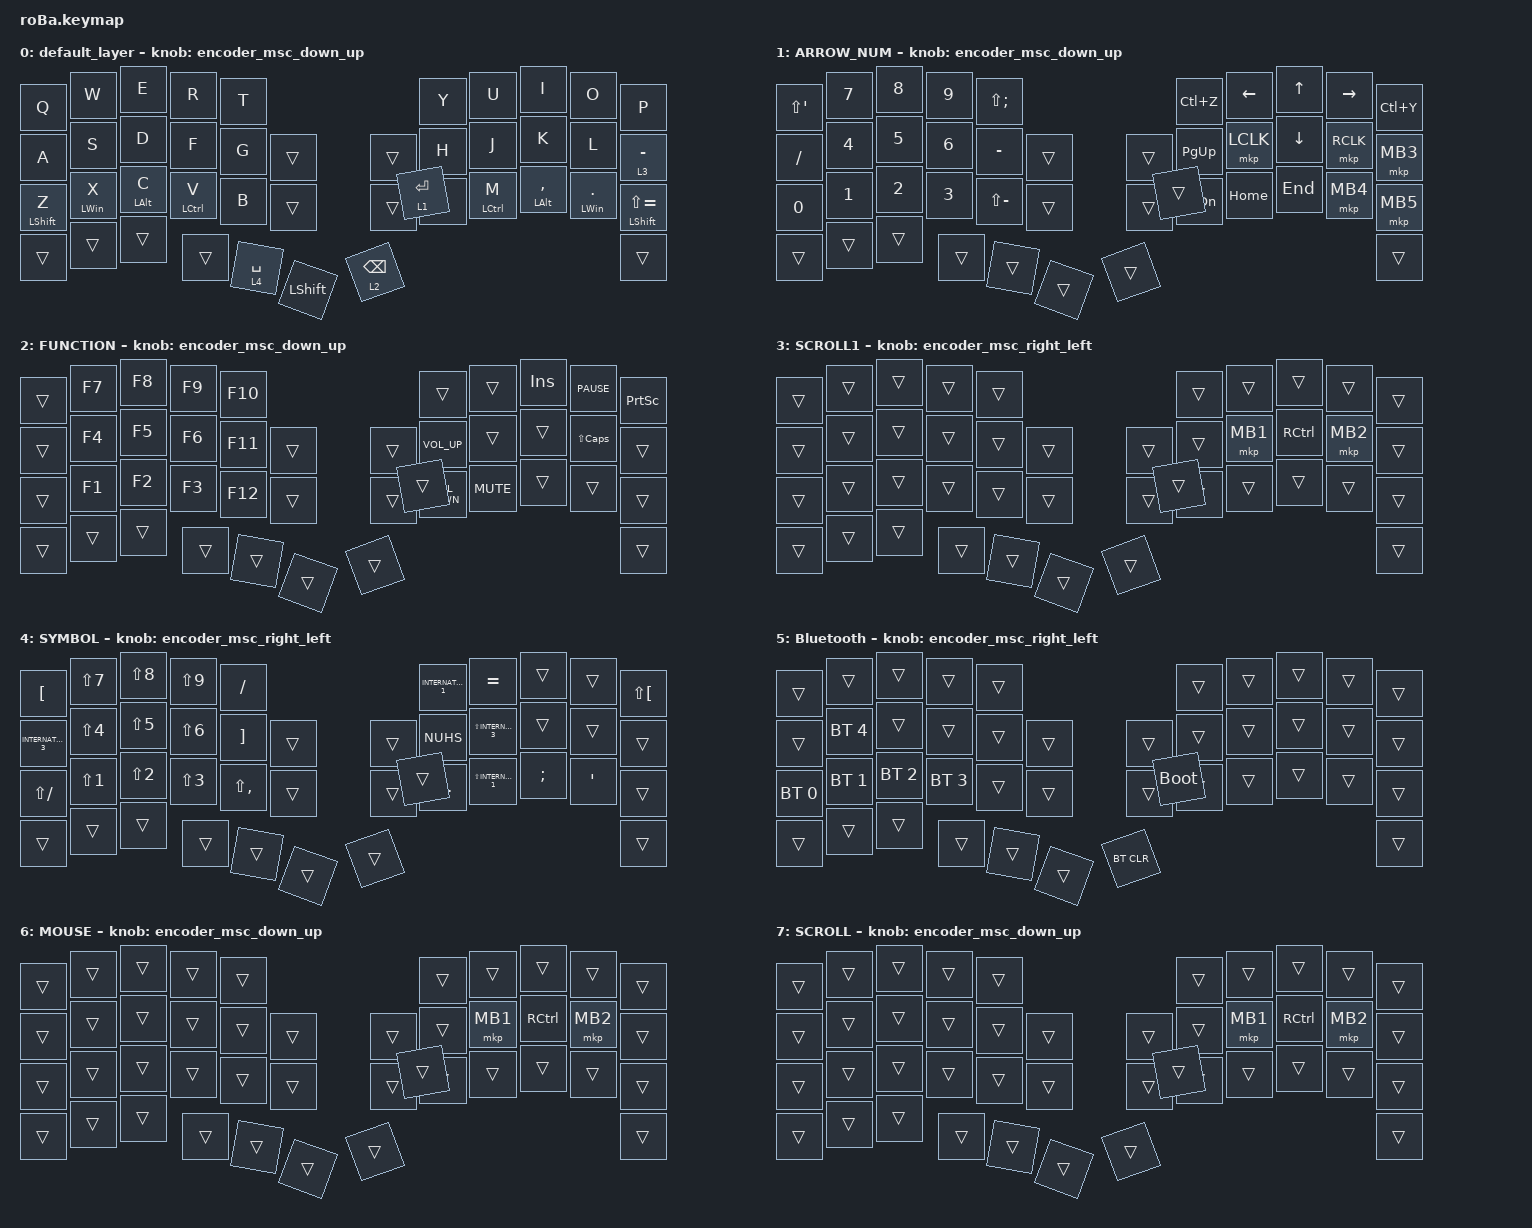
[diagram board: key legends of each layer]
#include <input/processors.dtsi>
#include <behaviors.dtsi>
#include <dt-bindings/zmk/bt.h>
#include <dt-bindings/zmk/keys.h>
#include <dt-bindings/zmk/pointing.h>

// スクロール量定義

#define ZMK_POINTING_DEFAULT_SCRL_VAL 100

// OS設定を日本語キーボードのまま使用するための変換定義

#define JP_ZKHK  GRAVE        // Zenkaku ↔ Hankaku ↔ Kanji (半角 ↔ 全角 ↔ 漢字)
#define JP_MINUS MINUS        // -
#define JP_CARET EQUAL        // ^
#define JP_YEN   INT3         // ¥
#define JP_AT    LBKT         // @
#define JP_LBKT  RBKT         // [
#define JP_EISU  CAPS         // Eisū (英数)
#define JP_SEMI  SEMI         // ;
#define JP_COLON SQT          // :
#define JP_RBKT  NUHS         // ]
#define JP_COMMA COMMA        // ,
#define JP_DOT   DOT          // .
#define JP_SLASH SLASH        // /
#define JP_BSLH  INT1         // (backslash)
#define JP_MHEN  INT5         // Muhenkan (無変換)
#define JP_HENK  INT4         // Henkan (変換)
#define JP_KANA  INT2         // Katakana ↔ Hiragana ↔ Rōmaji (カタカナ ↔ ひらがな ↔ ローマ字)
#define JP_EXCL  LS(N1)       // !
#define JP_DQT   LS(N2)       // "
#define JP_HASH  LS(N3)       // #
#define JP_DLLR  LS(N4)       // $
#define JP_PRCNT LS(N5)       // %
#define JP_AMPS  LS(N6)       // &
#define JP_SQT   LS(N7)       // '
#define JP_LPAR  LS(N8)       // (
#define JP_RPAR  LS(N9)       // )
#define JP_EQUAL LS(JP_MINUS) // =
#define JP_TILDE LS(JP_CARET) // ~
#define JP_PIPE  LS(JP_YEN)   // |
#define JP_GRAVE LS(JP_AT)    // `
#define JP_LBRC  LS(JP_LBKT)  // {
#define JP_CAPS  LS(JP_EISU)  // Caps Lock
#define JP_PLUS  LS(JP_SEMI)  // +
#define JP_ASTRK LS(JP_COLON) // *
#define JP_RBRC  LS(JP_RBKT)  // }
#define JP_LT    LS(JP_COMMA) // <
#define JP_RT    LS(JP_DOT)   // >
#define JP_QMARK LS(JP_SLASH) // ?
#define JP_UNDER LS(JP_BSLH)  // _

&mt {
    flavor = "balanced";
    quick-tap-ms = <200>;
    tapping-term-ms = <200>;
};

&lt {
    tapping-term-ms = <200>;
    flavor = "hold-preferred";
    quick-tap-ms = <200>;
    hold-while-undecided;
};

//AML誤爆防止・復帰除外キー設定

&zip_temp_layer {
    require-prior-idle-ms = <100>;
    excluded-positions = <
        18 // J
        // 19 // K
        20 // L
        21 // ;
    >;
};

//トラックボール操作時AML動作定義

&trackball_listener { input-processors = <&zip_temp_layer 6 500>; };

//マウスクリック操作時AML動作定義

&mkp_input_listener { input-processors = <&zip_temp_layer 6 250>; };

&trackball {
    //  automouse-layer = <6>;

    scroll-layers = <7>;

    arrows {
        layers = <7>;
        bindings =
            <&kp RIGHT_ARROW>,
            <&kp LEFT_ARROW>,
            <&kp UP_ARROW>,
            <&kp DOWN_ARROW>;

        tick = <10>;
        wait-ms = <5>;
        tap-ms = <5>;
    };
};

/ {
    combos {
        compatible = "zmk,combos";

        tab {
            bindings = <&kp TAB>;
            key-positions = <0 1>;
        };

        esc {
            bindings = <&kp ESCAPE>;
            key-positions = <9 8>;
        };

        henkan {
            bindings = <&kp INT_HENKAN>;
            key-positions = <29 30>;
        };

        muhenkan {
            bindings = <&kp INT_MUHENKAN>;
            key-positions = <26 25>;
        };

        del {
            bindings = <&kp DELETE>;
            key-positions = <32 31>;
        };
    };

    macros {
        to_layer_0: to_layer_0 {
            compatible = "zmk,behavior-macro-one-param";
            #binding-cells = <1>;
            bindings = <&to 0 &macro_param_1to1 &kp MACRO_PLACEHOLDER>;
            label = "TO_LAYER_0";
        };
    };

    behaviors {
        lt_to_layer_0: lt_to_layer_0 {
            compatible = "zmk,behavior-hold-tap";
            label = "LAYER_TAP_TO_0";
            bindings = <&mo>, <&to_layer_0>;

            #binding-cells = <2>;
            tapping-term-ms = <200>;
        };

        encoder_msc_down_up: encoder_msc_down_up {
            compatible = "zmk,behavior-sensor-rotate";
            label = "ENCODER_MSC_DOWN_UP";
            #sensor-binding-cells = <0>;
            bindings = <&msc SCRL_DOWN>, <&msc SCRL_UP>;

            tap-ms = <20>;
        };

        enter_l1: enter_l1 {
            compatible = "zmk,behavior-tap-dance";
            label = "ENTER_L1";
            #binding-cells = <0>;
            bindings = <&lt 1 ENTER>, <&kp ENTER>;

            tapping-term-ms = <200>;
        };

        backspace_l2: backspace_l2 {
            compatible = "zmk,behavior-tap-dance";
            label = "BACKSPACE_L2";
            #binding-cells = <0>;
            bindings = <&lt 2 BACKSPACE>, <&kp BACKSPACE>;

            tapping-term-ms = <200>;
        };

        space_l4: space_l4 {
            compatible = "zmk,behavior-tap-dance";
            label = "SPACE_L4";
            #binding-cells = <0>;
            bindings = <&lt 4 SPACE>, <&kp SPACE>;

            tapping-term-ms = <200>;
        };

        encoder_msc_right_left: encoder_msc_right_left {
            compatible = "zmk,behavior-sensor-rotate";
            label = "ENCODER_MSC_RIGHT_LEFT";
            #sensor-binding-cells = <0>;
            bindings = <&msc SCRL_RIGHT>, <&msc SCRL_LEFT>;

            tap-ms = <20>;
        };
    };

    keymap {
        compatible = "zmk,keymap";

        default_layer {
            bindings = <
&kp Q             &kp W           &kp E           &kp R        &kp T                                             &kp Y        &kp U        &kp I               &kp O             &kp P
&kp A             &kp S           &kp D           &kp F        &kp G        &trans              &trans           &kp H        &kp J        &kp K               &kp L             &lt 3 MINUS
&mt LEFT_SHIFT Z  &mt LEFT_WIN X  &mt LEFT_ALT C  &mt LCTRL V  &kp B        &trans              &trans           &kp N        &mt LCTRL M  &mt LEFT_ALT COMMA  &mt LEFT_WIN DOT  &mt LEFT_SHIFT LS(EQUAL)
&trans            &trans          &trans          &trans       &lt 4 SPACE  &kp LEFT_SHIFT      &lt 2 BACKSPACE  &lt 1 ENTER                                                     &trans
            >;

            sensor-bindings = <&encoder_msc_down_up>;
        };

        ARROW_NUM {
            bindings = <
&kp LS(SQT)  &kp N7  &kp N8  &kp N9  &kp LS(SEMI)                       &kp LC(Z)      &kp LEFT_ARROW  &kp UP_ARROW    &kp RIGHT_ARROW  &kp LC(Y)
&kp SLASH    &kp N4  &kp N5  &kp N6  &kp MINUS      &trans      &trans  &kp PAGE_UP    &mkp LCLK       &kp DOWN_ARROW  &mkp RCLK        &mkp MB3
&kp N0       &kp N1  &kp N2  &kp N3  &kp LS(MINUS)  &trans      &trans  &kp PAGE_DOWN  &kp HOME        &kp END         &mkp MB4         &mkp MB5
&trans       &trans  &trans  &trans  &trans         &trans      &trans  &trans                                                          &trans
            >;

            sensor-bindings = <&encoder_msc_down_up>;
        };

        FUNCTION {
            bindings = <
&trans  &kp F7  &kp F8  &kp F9  &kp F10                      &trans             &trans      &kp INS  &kp C_PAUSE       &kp PRINTSCREEN
&trans  &kp F4  &kp F5  &kp F6  &kp F11  &trans      &trans  &kp C_VOLUME_UP    &trans      &trans   &kp LS(CAPSLOCK)  &trans
&trans  &kp F1  &kp F2  &kp F3  &kp F12  &trans      &trans  &kp C_VOLUME_DOWN  &kp C_MUTE  &trans   &trans            &trans
&trans  &trans  &trans  &trans  &trans   &trans      &trans  &trans                                                    &trans
            >;

            sensor-bindings = <&encoder_msc_down_up>;
        };

        SCROLL1 {
            bindings = <
&trans  &trans  &trans  &trans  &trans                      &trans  &trans    &trans     &trans    &trans
&trans  &trans  &trans  &trans  &trans  &trans      &trans  &trans  &mkp MB1  &kp RCTRL  &mkp MB2  &trans
&trans  &trans  &trans  &trans  &trans  &trans      &trans  &trans  &trans    &trans     &trans    &trans
&trans  &trans  &trans  &trans  &trans  &trans      &trans  &trans                                 &trans
            >;

            sensor-bindings = <&encoder_msc_right_left>;
        };

        SYMBOL {
            bindings = <
&kp LBKT             &kp LS(N7)  &kp LS(N8)  &kp LS(N9)  &kp SLASH                          &kp INTERNATIONAL_1  &kp EQUAL                &trans    &trans   &kp LS(LBKT)
&kp INTERNATIONAL_3  &kp LS(N4)  &kp LS(N5)  &kp LS(N6)  &kp RBKT       &trans      &trans  &kp NUHS             &kp LS(INTERNATIONAL_3)  &trans    &trans   &trans
&kp LS(SLASH)        &kp LS(N1)  &kp LS(N2)  &kp LS(N3)  &kp LS(COMMA)  &trans      &trans  &kp LS(DOT)          &kp LS(INTERNATIONAL_1)  &kp SEMI  &kp SQT  &trans
&trans               &trans      &trans      &trans      &trans         &trans      &trans  &trans                                                           &trans
            >;

            sensor-bindings = <&encoder_msc_right_left>;
        };

        Bluetooth {
            bindings = <
&trans        &trans        &trans        &trans        &trans                          &trans       &trans  &trans  &trans  &trans
&trans        &bt BT_SEL 4  &trans        &trans        &trans  &trans      &trans      &trans       &trans  &trans  &trans  &trans
&bt BT_SEL 0  &bt BT_SEL 1  &bt BT_SEL 2  &bt BT_SEL 3  &trans  &trans      &trans      &trans       &trans  &trans  &trans  &trans
&trans        &trans        &trans        &trans        &trans  &trans      &bt BT_CLR  &bootloader                          &trans
            >;

            sensor-bindings = <&encoder_msc_right_left>;
        };

        MOUSE {
            bindings = <
&trans  &trans  &trans  &trans  &trans                      &trans  &trans    &trans     &trans    &trans
&trans  &trans  &trans  &trans  &trans  &trans      &trans  &trans  &mkp MB1  &kp RCTRL  &mkp MB2  &trans
&trans  &trans  &trans  &trans  &trans  &trans      &trans  &trans  &trans    &trans     &trans    &trans
&trans  &trans  &trans  &trans  &trans  &trans      &trans  &trans                                 &trans
            >;

            sensor-bindings = <&encoder_msc_down_up>;
        };

        SCROLL {
            bindings = <
&trans  &trans  &trans  &trans  &trans                      &trans  &trans    &trans     &trans    &trans
&trans  &trans  &trans  &trans  &trans  &trans      &trans  &trans  &mkp MB1  &kp RCTRL  &mkp MB2  &trans
&trans  &trans  &trans  &trans  &trans  &trans      &trans  &trans  &trans    &trans     &trans    &trans
&trans  &trans  &trans  &trans  &trans  &trans      &trans  &trans                                 &trans
            >;

            sensor-bindings = <&encoder_msc_down_up>;
        };
    };

    conditional_layers {
        compatible = "zmk,conditional-layers";

        SCROLL_1 {
            if-layers = <3 6>;
            then-layer = <7>;
        };

        SCROLL_2 {
            if-layers = <4 6>;
            then-layer = <7>;
        };

        Bluetooth {
            if-layers = <3 4>;
            then-layer = <5>;
        };
    };
};
